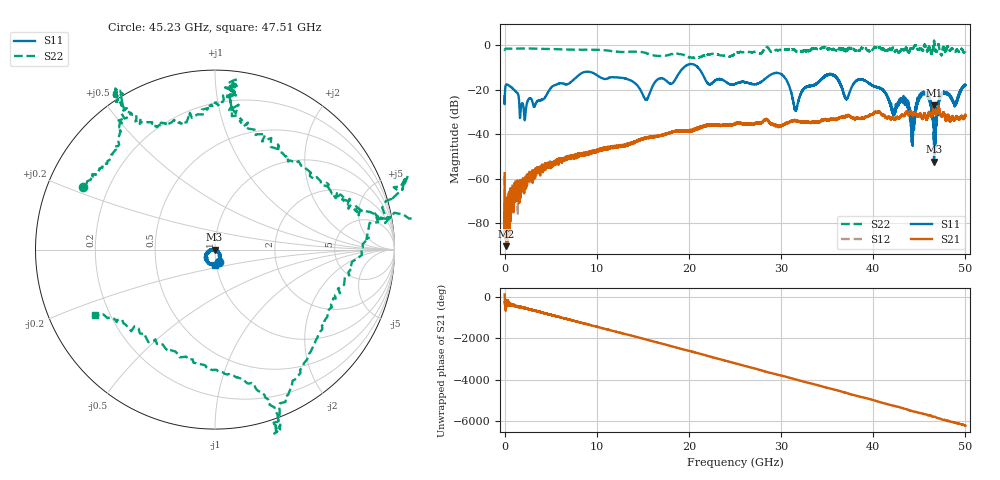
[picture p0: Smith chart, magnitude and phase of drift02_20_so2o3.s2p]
!Created with skrf (http://scikit-rf.org).
# Hz S RI R 50.0
!freq ReS11 ImS11 ReS21 ImS21 ReS12 ImS12 ReS22 ImS22
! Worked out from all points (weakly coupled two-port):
!   10001 points, 300 kHz to 50 GHz, reference 50 ohm
!   highest |S21| = -26.93 dB at 46.61 GHz (marker M1); lowest = -90.3 dB at 195.3 MHz (marker M2)
!   lowest |S11| = -52.3 dB at 46.6 GHz (marker M3), VSWR 1.00, Z = 49.8 + j0.00441 ohm
!   |S11| at or under -10 dB: start of sweep to 19.41 GHz; 21 GHz to end of sweep
!   |S22| runs from -5.7 to 2.2 dB; largest |S21 - S12| = 0.0032
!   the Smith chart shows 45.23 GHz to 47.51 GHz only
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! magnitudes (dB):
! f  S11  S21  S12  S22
! 300 kHz  -22.8  -57.5  -59.0  -2.0
! 195.3 MHz  -17.6  -90.3  -76.7  -1.4
! 2.185 GHz  -33.7  -62.3  -61.6  -1.3
! 8.335 GHz  -12.5  -48.5  -49.8  -1.9
! 15.34 GHz  -24.4  -41.6  -41.6  -3.4
! 16.67 GHz  -15.1  -40.6  -40.7  -4.7
! 20.28 GHz  -8.4  -38.3  -38.0  -5.5
! 25 GHz  -17.3  -35.3  -35.5  -3.9
! 29.85 GHz  -12.6  -36.3  -36.6  -2.1
! 31.59 GHz  -29.1  -33.7  -34.0  -2.4
! 33.34 GHz  -18.0  -34.6  -34.5  -1.6
! 35.6 GHz  -13.2  -33.1  -33.2  -1.6
! 37.1 GHz  -24.2  -31.6  -31.7  -2.2
! 38.75 GHz  -15.3  -32.7  -32.7  -1.0
! 41.67 GHz  -24.1  -32.1  -32.3  -1.8
! 43.43 GHz  -23.8  -31.2  -31.1  -1.9
! 44.25 GHz  -39.9  -31.0  -31.1  -1.4
! 45.67 GHz  -21.6  -32.2  -31.9  -0.4
! 46.6 GHz  -52.3  -27.0  -26.8  2.0
! 46.61 GHz  -39.0  -26.9  -27.0  2.2
! 47.47 GHz  -21.8  -31.7  -31.5  -3.5
! 50 GHz  -17.8  -31.5  -31.2  -2.7
